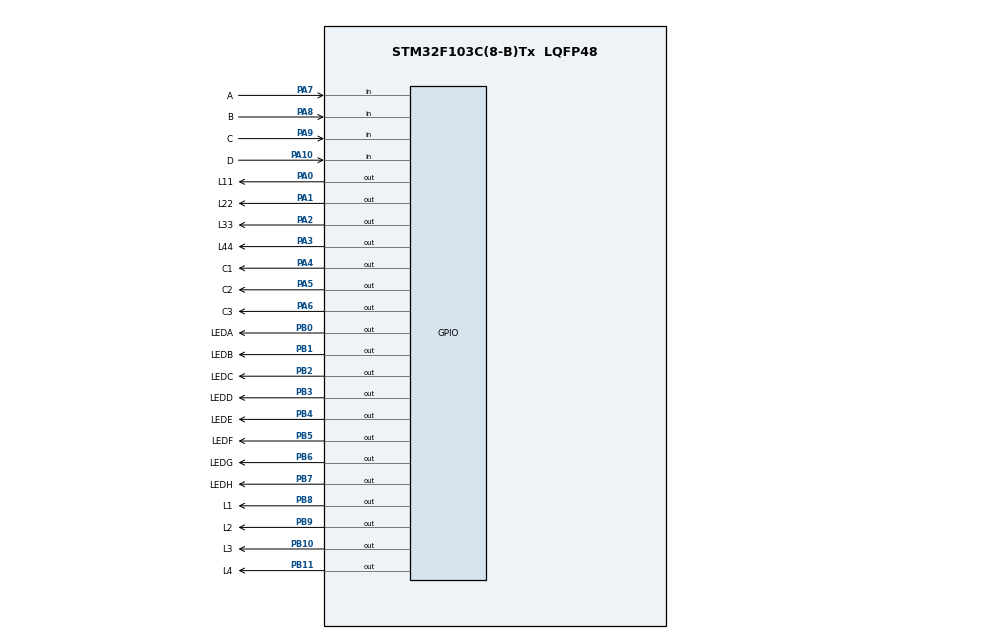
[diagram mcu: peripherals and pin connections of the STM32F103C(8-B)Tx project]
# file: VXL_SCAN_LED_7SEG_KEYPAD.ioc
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Mcu.Family=STM32F1
Mcu.Name=STM32F103C(8-B)Tx
Mcu.Package=LQFP48
NVIC.PriorityGroup=NVIC_PRIORITYGROUP_4
PA0-WKUP.GPIO_Label=L11
PA0-WKUP.Signal=GPIO_Output
PA1.GPIO_Label=L22
PA1.Signal=GPIO_Output
PA10.GPIO_Label=D
PA10.GPIO_PuPd=GPIO_PULLUP
PA10.Signal=GPIO_Input
PA13.Mode=Serial_Wire
PA13.Signal=SYS_JTMS-SWDIO
PA14.Mode=Serial_Wire
PA14.Signal=SYS_JTCK-SWCLK
PA2.GPIO_Label=L33
PA2.Signal=GPIO_Output
PA3.GPIO_Label=L44
PA3.Signal=GPIO_Output
PA4.GPIO_Label=C1
PA4.Signal=GPIO_Output
PA5.GPIO_Label=C2
PA5.Signal=GPIO_Output
PA6.GPIO_Label=C3
PA6.Signal=GPIO_Output
PA7.GPIO_Label=A
PA7.GPIO_PuPd=GPIO_PULLUP
PA7.Signal=GPIO_Input
PA8.GPIO_Label=B
PA8.GPIO_PuPd=GPIO_PULLUP
PA8.Signal=GPIO_Input
PA9.GPIO_Label=C
PA9.GPIO_PuPd=GPIO_PULLUP
PA9.Signal=GPIO_Input
PB0.GPIO_Label=LEDA
PB0.Signal=GPIO_Output
PB1.GPIO_Label=LEDB
PB1.Signal=GPIO_Output
PB10.GPIO_Label=L3
PB10.Signal=GPIO_Output
PB11.GPIO_Label=L4
PB11.Signal=GPIO_Output
PB2.GPIO_Label=LEDC
PB2.Signal=GPIO_Output
PB3.GPIO_Label=LEDD
PB3.Signal=GPIO_Output
PB4.GPIO_Label=LEDE
PB4.Signal=GPIO_Output
PB5.GPIO_Label=LEDF
PB5.Signal=GPIO_Output
PB6.GPIO_Label=LEDG
PB6.Signal=GPIO_Output
PB7.GPIO_Label=LEDH
PB7.Signal=GPIO_Output
PB8.GPIO_Label=L1
PB8.Signal=GPIO_Output
PB9.GPIO_Label=L2
PB9.Signal=GPIO_Output
ProjectManager.HeapSize=0x200
ProjectManager.StackSize=0x400
ProjectManager.TargetToolchain=MDK-ARM V5.32
RCC.APB1Freq_Value=8000000
RCC.APB2Freq_Value=8000000
board=custom

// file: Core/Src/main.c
/* USER CODE BEGIN Header */
/**
  ******************************************************************************
  * @file           : main.c
  * @brief          : Main program body
  ******************************************************************************
  * @attention
  *
  * Copyright (c) 2023 STMicroelectronics.
  * All rights reserved.
  *
  * This software is licensed under terms that can be found in the LICENSE file
  * in the root directory of this software component.
  * If no LICENSE file comes with this software, it is provided AS-IS.
  *
  ******************************************************************************
  */
/* USER CODE END Header */
#include "main.h"

/* USER CODE BEGIN PV */
const uint8_t LED[] = {0x3F,0x06,0x5B,0x4F,0x66,0x6D,0x7D,0x07,0x7F,0x6F,0x00};
GPIO_TypeDef* GPIO_PORTS[] = {LEDA_GPIO_Port, LEDB_GPIO_Port, LEDC_GPIO_Port, LEDD_GPIO_Port, LEDE_GPIO_Port, LEDF_GPIO_Port, LEDG_GPIO_Port,LEDH_GPIO_Port};
uint16_t GPIO_PINS[] = {LEDA_Pin, LEDB_Pin, LEDC_Pin, LEDD_Pin, LEDE_Pin, LEDF_Pin, LEDG_Pin, LEDH_Pin};
uint32_t num = 0;
/* USER CODE END PV */

void SystemClock_Config(void);
static void MX_GPIO_Init(void);

/* USER CODE BEGIN 0 */
uint32_t read_Keypad(void) { // tra ve so 32 bit
	HAL_GPIO_WritePin(C1_GPIO_Port,C1_Pin,0);
	HAL_GPIO_WritePin(C2_GPIO_Port,C2_Pin,1);
	HAL_GPIO_WritePin(C3_GPIO_Port,C3_Pin,1);

	if (!HAL_GPIO_ReadPin(A_GPIO_Port,A_Pin))
	{
		while (!HAL_GPIO_ReadPin(A_GPIO_Port,A_Pin)); //while(1) = dung tai day
		num = num*10+1;
	}
	if (!HAL_GPIO_ReadPin(B_GPIO_Port,B_Pin))
	{
		while (!HAL_GPIO_ReadPin(B_GPIO_Port,B_Pin));
		num = num*10+4;
	}
	if (!HAL_GPIO_ReadPin(C_GPIO_Port,C_Pin))
	{
		while (!HAL_GPIO_ReadPin(C_GPIO_Port,C_Pin));
		num = num*10+7;
	}
	if (!HAL_GPIO_ReadPin(D_GPIO_Port,D_Pin))
	{
		while (!HAL_GPIO_ReadPin(D_GPIO_Port,D_Pin));
		num = 0;
	}

	HAL_GPIO_WritePin(C1_GPIO_Port,C1_Pin,1);
	HAL_GPIO_WritePin(C2_GPIO_Port,C2_Pin,0);
	HAL_GPIO_WritePin(C3_GPIO_Port,C3_Pin,1);

	if (!HAL_GPIO_ReadPin(A_GPIO_Port,A_Pin))
	{
		while (!HAL_GPIO_ReadPin(A_GPIO_Port,A_Pin));
		num = num*10+2;
	}
	if (!HAL_GPIO_ReadPin(B_GPIO_Port,B_Pin))
	{
		while (!HAL_GPIO_ReadPin(B_GPIO_Port,B_Pin));
		num = num*10+5;
	}
	if (!HAL_GPIO_ReadPin(C_GPIO_Port,C_Pin))
	{
		while (!HAL_GPIO_ReadPin(C_GPIO_Port,C_Pin));
		num = num*10+8;
	}
	if (!HAL_GPIO_ReadPin(D_GPIO_Port,D_Pin))
	{
		while (!HAL_GPIO_ReadPin(D_GPIO_Port,D_Pin));
		num = num*10+0;
	}

	HAL_GPIO_WritePin(C1_GPIO_Port,C1_Pin,1);
	HAL_GPIO_WritePin(C2_GPIO_Port,C2_Pin,1);
	HAL_GPIO_WritePin(C3_GPIO_Port,C3_Pin,0);

	if (!HAL_GPIO_ReadPin(A_GPIO_Port,A_Pin))
	{
		while (!HAL_GPIO_ReadPin(A_GPIO_Port,A_Pin));
		num = num*10+3;
	}
	if (!HAL_GPIO_ReadPin(B_GPIO_Port,B_Pin))
	{
		while (!HAL_GPIO_ReadPin(B_GPIO_Port,B_Pin));
		num = num*10+6;
	}
	if (!HAL_GPIO_ReadPin(C_GPIO_Port,C_Pin))
	{
		while (!HAL_GPIO_ReadPin(C_GPIO_Port,C_Pin));
		num = num*10+9;
	}
	if (!HAL_GPIO_ReadPin(D_GPIO_Port,D_Pin))
	{
		while (!HAL_GPIO_ReadPin(D_GPIO_Port,D_Pin));
		num = num/10;
	}

	if (num >9999) return num = num/10;
	else return num;
}
/* uint8_t pos_NUM() // neu void th? khong the return
{

	HAL_GPIO_WritePin(C1_GPIO_Port,C1_Pin,0);
	NUM_IN[1] = HAL_GPIO_ReadPin(A_GPIO_Port,A_Pin);
	NUM_IN[4] = HAL_GPIO_ReadPin(B_GPIO_Port,B_Pin);
	NUM_IN[7] = HAL_GPIO_ReadPin(C_GPIO_Port,C_Pin);
	HAL_GPIO_WritePin(C1_GPIO_Port,C1_Pin,1);

	HAL_GPIO_WritePin(C2_GPIO_Port,C2_Pin,0);
	NUM_IN[0] = HAL_GPIO_ReadPin(D_GPIO_Port,D_Pin);
	NUM_IN[2] = HAL_GPIO_ReadPin(A_GPIO_Port,A_Pin);
	NUM_IN[5] = HAL_GPIO_ReadPin(B_GPIO_Port,B_Pin);
	NUM_IN[8] = HAL_GPIO_ReadPin(C_GPIO_Port,C_Pin);
	HAL_GPIO_WritePin(C2_GPIO_Port,C2_Pin,1);

	HAL_GPIO_WritePin(C3_GPIO_Port,C3_Pin,0);
	NUM_IN[3] = HAL_GPIO_ReadPin(A_GPIO_Port,A_Pin);
	NUM_IN[6] = HAL_GPIO_ReadPin(B_GPIO_Port,B_Pin);
	NUM_IN[9] = HAL_GPIO_ReadPin(C_GPIO_Port,C_Pin);
	HAL_GPIO_WritePin(C3_GPIO_Port,C3_Pin,1);

	for(uint8_t i = 0 ;i<10 ; i++)
		{
			if (NUM_IN[i] == 0) num = i;
		}
	//HAL_Delay(100);
return num;
}
*/
void LED_display(uint8_t n,uint8_t pos){

	for(uint8_t i = 0; i<8; i++){
		HAL_GPIO_WritePin(GPIO_PORTS[i],GPIO_PINS[i],LED[n]>>i&1u);
	}
	HAL_GPIO_WritePin(L1_GPIO_Port,L1_Pin,pos%2);
	HAL_GPIO_WritePin(L2_GPIO_Port,L2_Pin,pos%3);
	HAL_GPIO_WritePin(L3_GPIO_Port,L3_Pin,pos%5);
	HAL_GPIO_WritePin(L4_GPIO_Port,L4_Pin,pos%7);

	HAL_Delay(1);

	GPIOB->ODR=0xffff;// khong kich 4 led // (giua 2 lan hien thi se co trang thai tat: khong kich all led hoac kich 1 led nhung cho hien thi blank

}
/* USER CODE END 0 */

int main(void)
{

  /* MCU Configuration--------------------------------------------------------*/

  /* Reset of all peripherals, Initializes the Flash interface and the Systick. */
  HAL_Init();

  /* Configure the system clock */
  SystemClock_Config();

  /* Initialize all configured peripherals */
  MX_GPIO_Init();
  /* USER CODE BEGIN 2 */
	HAL_GPIO_WritePin(L1_GPIO_Port,L1_Pin,1);
	HAL_GPIO_WritePin(L2_GPIO_Port,L2_Pin,1);
	HAL_GPIO_WritePin(L3_GPIO_Port,L3_Pin,1);
	HAL_GPIO_WritePin(L4_GPIO_Port,L4_Pin,1);

	HAL_GPIO_WritePin(C3_GPIO_Port,C3_Pin,1);
	HAL_GPIO_WritePin(C1_GPIO_Port,C1_Pin,1);
	HAL_GPIO_WritePin(C2_GPIO_Port,C2_Pin,1);
	// Input pull up

  /* USER CODE END 2 */

  /* Infinite loop */
  while (1)
  {
		//LED_display(5,2);
		//LED_display(2,3);
		//LED_display(3,5);
		//LED_display(5,7);

		if (read_Keypad() ==0) LED_display(10 ,7); // tat
		else LED_display(read_Keypad()%10 ,7);

		if (read_Keypad()/10 ==0) LED_display(10 ,5);
		else LED_display((read_Keypad()/10)%10 ,5);

		if (read_Keypad()/100 ==0) LED_display(10 ,3);
		else LED_display((read_Keypad()/100)%10,3);

		if (read_Keypad()/1000 ==0) LED_display(10 ,2);
		else LED_display((read_Keypad()/1000)%10,2);

  }
}

void SystemClock_Config(void)
{
  RCC_OscInitTypeDef RCC_OscInitStruct = {0};
  RCC_ClkInitTypeDef RCC_ClkInitStruct = {0};

  /** Initializes the RCC Oscillators according to the specified parameters
  * in the RCC_OscInitTypeDef structure.
  */
  RCC_OscInitStruct.OscillatorType = RCC_OSCILLATORTYPE_HSI;
  RCC_OscInitStruct.HSIState = RCC_HSI_ON;
  RCC_OscInitStruct.HSICalibrationValue = RCC_HSICALIBRATION_DEFAULT;
  RCC_OscInitStruct.PLL.PLLState = RCC_PLL_NONE;
  if (HAL_RCC_OscConfig(&RCC_OscInitStruct) != HAL_OK)
  {
    Error_Handler();
  }

  /** Initializes the CPU, AHB and APB buses clocks
  */
  RCC_ClkInitStruct.ClockType = RCC_CLOCKTYPE_HCLK|RCC_CLOCKTYPE_SYSCLK
                              |RCC_CLOCKTYPE_PCLK1|RCC_CLOCKTYPE_PCLK2;
  RCC_ClkInitStruct.SYSCLKSource = RCC_SYSCLKSOURCE_HSI;
  RCC_ClkInitStruct.AHBCLKDivider = RCC_SYSCLK_DIV1;
  RCC_ClkInitStruct.APB1CLKDivider = RCC_HCLK_DIV1;
  RCC_ClkInitStruct.APB2CLKDivider = RCC_HCLK_DIV1;

  if (HAL_RCC_ClockConfig(&RCC_ClkInitStruct, FLASH_LATENCY_0) != HAL_OK)
  {
    Error_Handler();
  }
}

static void MX_GPIO_Init(void)
{
  GPIO_InitTypeDef GPIO_InitStruct = {0};

  /* GPIO Ports Clock Enable */
  __HAL_RCC_GPIOC_CLK_ENABLE();
  __HAL_RCC_GPIOD_CLK_ENABLE();
  __HAL_RCC_GPIOA_CLK_ENABLE();
  __HAL_RCC_GPIOB_CLK_ENABLE();

  /*Configure GPIO pin Output Level */
  HAL_GPIO_WritePin(GPIOA, L11_Pin|L22_Pin|L33_Pin|L44_Pin
                          |C1_Pin|C2_Pin|C3_Pin, GPIO_PIN_RESET);

  /*Configure GPIO pin Output Level */
  HAL_GPIO_WritePin(GPIOB, LEDA_Pin|LEDB_Pin|LEDC_Pin|L3_Pin
                          |L4_Pin|LEDD_Pin|LEDE_Pin|LEDF_Pin
                          |LEDG_Pin|LEDH_Pin|L1_Pin|L2_Pin, GPIO_PIN_RESET);

  /*Configure GPIO pins : PC13 PC14 PC15 */
  GPIO_InitStruct.Pin = GPIO_PIN_13|GPIO_PIN_14|GPIO_PIN_15;
  GPIO_InitStruct.Mode = GPIO_MODE_ANALOG;
  HAL_GPIO_Init(GPIOC, &GPIO_InitStruct);

  /*Configure GPIO pins : PD0 PD1 */
  GPIO_InitStruct.Pin = GPIO_PIN_0|GPIO_PIN_1;
  GPIO_InitStruct.Mode = GPIO_MODE_ANALOG;
  HAL_GPIO_Init(GPIOD, &GPIO_InitStruct);

  /*Configure GPIO pins : L11_Pin L22_Pin L33_Pin L44_Pin
                           C1_Pin C2_Pin C3_Pin */
  GPIO_InitStruct.Pin = L11_Pin|L22_Pin|L33_Pin|L44_Pin
                          |C1_Pin|C2_Pin|C3_Pin;
  GPIO_InitStruct.Mode = GPIO_MODE_OUTPUT_PP;
  GPIO_InitStruct.Pull = GPIO_NOPULL;
  GPIO_InitStruct.Speed = GPIO_SPEED_FREQ_LOW;
  HAL_GPIO_Init(GPIOA, &GPIO_InitStruct);

  /*Configure GPIO pins : A_Pin B_Pin C_Pin D_Pin */
  GPIO_InitStruct.Pin = A_Pin|B_Pin|C_Pin|D_Pin;
  GPIO_InitStruct.Mode = GPIO_MODE_INPUT;
  GPIO_InitStruct.Pull = GPIO_PULLUP;
  HAL_GPIO_Init(GPIOA, &GPIO_InitStruct);

  /*Configure GPIO pins : LEDA_Pin LEDB_Pin LEDC_Pin L3_Pin
                           L4_Pin LEDD_Pin LEDE_Pin LEDF_Pin
                           LEDG_Pin LEDH_Pin L1_Pin L2_Pin */
  GPIO_InitStruct.Pin = LEDA_Pin|LEDB_Pin|LEDC_Pin|L3_Pin
                          |L4_Pin|LEDD_Pin|LEDE_Pin|LEDF_Pin
                          |LEDG_Pin|LEDH_Pin|L1_Pin|L2_Pin;
  GPIO_InitStruct.Mode = GPIO_MODE_OUTPUT_PP;
  GPIO_InitStruct.Pull = GPIO_NOPULL;
  GPIO_InitStruct.Speed = GPIO_SPEED_FREQ_LOW;
  HAL_GPIO_Init(GPIOB, &GPIO_InitStruct);

  /*Configure GPIO pins : PB12 PB13 PB14 PB15 */
  GPIO_InitStruct.Pin = GPIO_PIN_12|GPIO_PIN_13|GPIO_PIN_14|GPIO_PIN_15;
  GPIO_InitStruct.Mode = GPIO_MODE_ANALOG;
  HAL_GPIO_Init(GPIOB, &GPIO_InitStruct);

  /*Configure GPIO pins : PA11 PA12 PA15 */
  GPIO_InitStruct.Pin = GPIO_PIN_11|GPIO_PIN_12|GPIO_PIN_15;
  GPIO_InitStruct.Mode = GPIO_MODE_ANALOG;
  HAL_GPIO_Init(GPIOA, &GPIO_InitStruct);

  /*Configure peripheral I/O remapping */
  __HAL_AFIO_REMAP_PD01_ENABLE();

}

void Error_Handler(void)
{
  __disable_irq();
  while (1)
  {
  }
}
